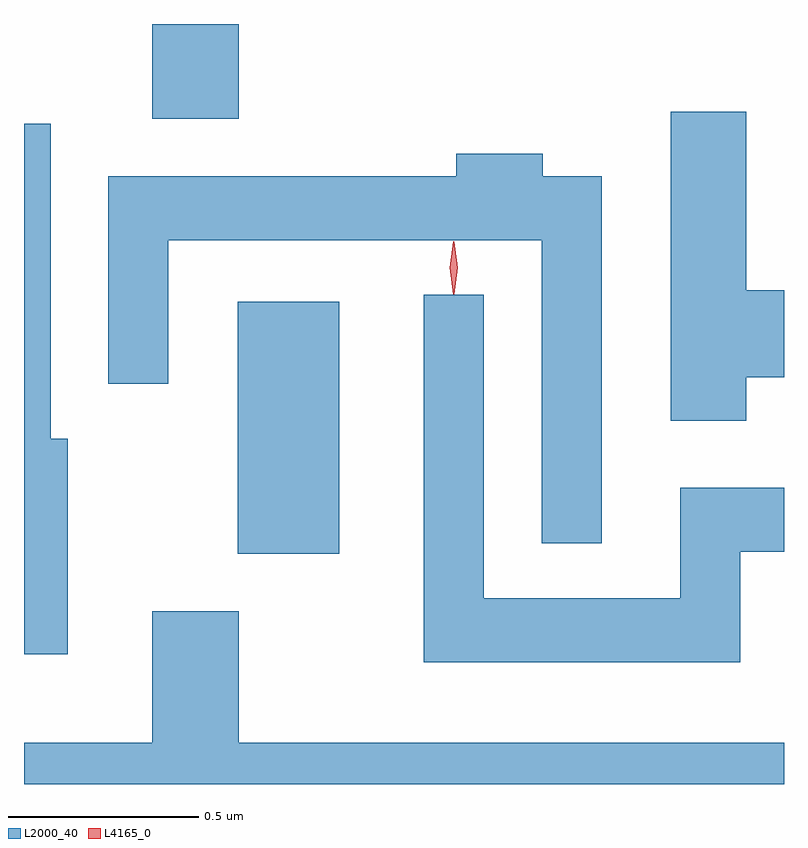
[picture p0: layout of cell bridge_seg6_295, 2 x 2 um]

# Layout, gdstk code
import gdstk
lib = gdstk.Library(unit=1e-6, precision=1e-09)
def R(c, l, rs):  # rectangles x0, y0, x1, y1
    for r in rs: c.add(gdstk.rectangle(r[:2], r[2:], *l))
def P(c, l, *ps):  # polygons
    for p in ps: c.add(gdstk.Polygon(p, *l))
L2000_40 = (2000, 40)
L4165_0 = (4165, 0)

bridge_seg6_295 = lib.new_cell('bridge_seg6_295')
R(bridge_seg6_295, L2000_40, [(1267.546,1541.921,1267.814,1542.584), (1267.321,1543.066,1267.549,1543.315)])
P(bridge_seg6_295, L2000_40, [(1268.884,1542.386),(1268.984,1542.386),(1268.984,1542.614),(1268.884,1542.614),(1268.884,1543.084),(1268.686,1543.084),(1268.686,1542.271),(1268.884,1542.271)],
  [(1267.099,1542.224),(1267.054,1542.224),(1267.054,1543.053),(1266.984,1543.053),(1266.984,1541.656),(1267.099,1541.656)],
  [(1268.504,1542.914),(1268.349,1542.914),(1268.349,1542.974),(1268.121,1542.974),(1268.121,1542.914),(1267.206,1542.914),(1267.206,1542.368),(1267.364,1542.368),(1267.364,1542.746),(1268.346,1542.746),(1268.346,1541.948),(1268.504,1541.948)],
  [(1268.869,1541.926),(1268.984,1541.926),(1268.984,1542.094),(1268.711,1542.094),(1268.711,1541.804),(1268.194,1541.804),(1268.194,1542.603),(1268.036,1542.603),(1268.036,1541.636),(1268.869,1541.636)],
  [(1268.984,1541.424),(1267.549,1541.424),(1267.549,1541.769),(1267.321,1541.769),(1267.321,1541.424),(1266.984,1541.424),(1266.984,1541.315),(1268.984,1541.315)])
P(bridge_seg6_295, L4165_0, [(1268.114,1542.604),(1268.105,1542.674),(1268.114,1542.742),(1268.115,1542.743),(1268.116,1542.742),(1268.125,1542.674),(1268.116,1542.604),(1268.115,1542.604)],
  [(1268.114,1542.607),(1268.114,1542.608),(1268.104,1542.674),(1268.114,1542.74),(1268.114,1542.741),(1268.115,1542.74),(1268.124,1542.674),(1268.115,1542.608)])

lib.write_gds('bridge_seg6_295.gds')
